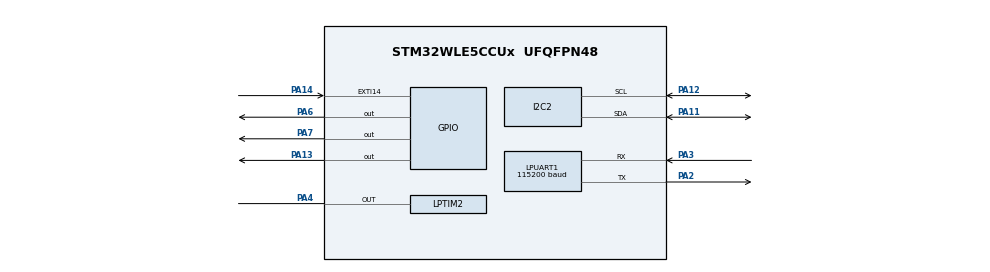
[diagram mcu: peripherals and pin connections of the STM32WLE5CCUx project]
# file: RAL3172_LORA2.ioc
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ADC.NbrOfConversion=1
ADC.SelectedChannel=ADC_CHANNEL_TEMPSENSOR|ADC_CHANNEL_VREFINT|ADC_CHANNEL_VBAT
FREERTOS.Tasks01=defaultTask,24,256,StartDefaultTask,Default,NULL,Dynamic,NULL,NULL
FREERTOS.configTOTAL_HEAP_SIZE=12000
FREERTOS.configUSE_NEWLIB_REENTRANT=1
FREERTOS.configUSE_TICKLESS_IDLE=2
I2C2.Timing=0x10805D88
IWDG.Prescaler=IWDG_PRESCALER_256
LPTIM1.ClockPrescaler=LPTIM_PRESCALER_DIV16
LPTIM3.ClockPrescaler=LPTIM_PRESCALER_DIV16
LPUART1.BaudRate=115200
LPUART1.FIFOMode=UART_FIFOMODE_ENABLE
Mcu.Family=STM32WL
Mcu.Name=STM32WLE5CCUx
Mcu.Package=UFQFPN48
NVIC.ADC_IRQn=true\:5\:0\:false\:false\:true\:true\:true\:true\:true
NVIC.EXTI15_10_IRQn=true\:5\:0\:false\:false\:true\:true\:true\:true\:true
NVIC.I2C2_ER_IRQn=true\:6\:0\:true\:false\:true\:true\:true\:true\:true
NVIC.I2C2_EV_IRQn=true\:6\:0\:true\:false\:true\:true\:true\:true\:true
NVIC.LPTIM1_IRQn=true\:5\:0\:false\:true\:true\:2\:true\:true\:true\:true
NVIC.LPUART1_IRQn=true\:5\:0\:false\:true\:true\:3\:true\:true\:true\:true
NVIC.PriorityGroup=NVIC_PRIORITYGROUP_4
NVIC.RTC_Alarm_IRQn=true\:5\:0\:false\:false\:true\:true\:true\:true\:true
NVIC.SUBGHZ_Radio_IRQn=true\:5\:0\:false\:true\:true\:1\:true\:true\:true\:true
NVIC.TIM16_IRQn=true\:5\:0\:true\:false\:true\:false\:false\:true\:true
NVIC.TimeBase=TIM16_IRQn
NVIC.TimeBaseIP=TIM16
PA11.GPIO_Pu=GPIO_PULLUP
PA11.Mode=I2C
PA11.Signal=I2C2_SDA
PA12.GPIO_Pu=GPIO_PULLUP
PA12.Mode=I2C
PA12.Signal=I2C2_SCL
PA13.Signal=GPIO_Output
PA14.GPIO_PuPd=GPIO_PULLDOWN
PA14.Signal=GPXTI14
PA2.Mode=Asynchronous
PA2.Signal=LPUART1_TX
PA3.GPIO_PuPd=GPIO_NOPULL
PA3.Mode=Asynchronous
PA3.Signal=LPUART1_RX
PA4.Mode=WaveformGeneration
PA4.Signal=LPTIM2_OUT
PA6.Signal=GPIO_Output
PA7.Signal=GPIO_Output
PC14-OSC32_IN.Mode=LSE-External-Oscillator
PC14-OSC32_IN.Signal=RCC_OSC32_IN
PC15-OSC32_OUT.Mode=LSE-External-Oscillator
PC15-OSC32_OUT.Signal=RCC_OSC32_OUT
ProjectManager.HeapSize=0x200
ProjectManager.StackSize=0x400
ProjectManager.TargetToolchain=STM32CubeIDE
RCC.AHBFreq_Value=48000000
RCC.APB1Freq_Value=48000000
RCC.APB1TimFreq_Value=48000000
RCC.APB2Freq_Value=48000000
RCC.APB2TimFreq_Value=48000000
RCC.APB3Freq_Value=48000000
RCC.CortexFreq_Value=48000000
RCC.HCLKFreq_Value=48000000
RCC.HSE_VALUE=8000000
RCC.HSI_VALUE=16000000
RCC.LPTIM1CLockSelection=RCC_LPTIM1CLKSOURCE_LSE
RCC.LPTIM2CLockSelection=RCC_LPTIM2CLKSOURCE_LSE
RCC.LPTIM3CLockSelection=RCC_LPTIM3CLKSOURCE_LSE
RCC.LPUART1CLockSelection=RCC_LPUART1CLKSOURCE_HSI
RCC.LSE_VALUE=32768
RCC.MSIClockRange=RCC_MSIRANGE_11
RCC.RTCClockSelection=RCC_RTCCLKSOURCE_LSE
RCC.SYSCLKFreq_VALUE=48000000
RCC.VCOOutputFreq_Value=384000000
RTC.Alarm-Alarm\ A=RTC_ALARM_A
RTC.AlarmMaskDateWeekDay-Alarm\ A=RTC_ALARMMASK_DATEWEEKDAY
RTC.AlarmMaskDateWeekDay_B-Alarm\ B=RTC_ALARMMASK_DATEWEEKDAY
RTC.Alarm_B-Alarm\ B=RTC_ALARM_B
RTC.AsynchPrediv=31
RTC.BinMixBcdU=RTC_BINARY_MIX_BCDU_2
RTC.BinMode=RTC_BINARY_MIX
RTC.Hours_A-Alarm\ A=0
RTC.Hours_B-Alarm\ B=19
RTC.SynchPrediv=1023
SUBGHZ_PHY.TX_RFO_CONFIG=RBI_CONF_RFO_LP
SUBGHZ_PHY.USE_LPM=false
SUBGHZ_PHY.USE_RTC=true
VP_ADC_TempSens_Input.Mode=IN-TempSens
VP_ADC_Vbat_Input.Mode=IN-Vbat
VP_ADC_Vref_Input.Mode=IN-Vrefint
VP_ADV_TRACE_VS_ADV_TRACE.Mode=ADV_TRACE_Enabled
VP_FREERTOS_VS_CMSIS_V2.Mode=CMSIS_V2
VP_IWDG_VS_IWDG.Mode=IWDG_Activate
VP_LPTIM1_VS_LPTIM_counterModeInternalClock.Mode=Counts__internal_clock_event_00
VP_LPTIM2_VS_LPTIM_counterModeInternalClock.Mode=Counts__internal_clock_event_00
VP_LPTIM3_VS_LPTIM_counterModeInternalClock.Mode=Counts__internal_clock_event_00
VP_MISC_VS_MISC.Mode=MISC_Enabled
VP_RTC_VS_RTC_Activate.Mode=RTC_Enabled
VP_RTC_VS_RTC_Alarm_A_Intern.Mode=Alarm A
VP_RTC_VS_RTC_Alarm_B_Intern.Mode=Alarm B
VP_RTC_VS_RTC_Calendar.Mode=RTC_Calendar
VP_SUBGHZ_PHY_VS_SubGhzPhy.Mode=SubGhzPhy_Enabled
VP_SUBGHZ_VS_SUBGHZ.Mode=SUBGHZ_Activate
VP_SYS_VS_tim16.Mode=TIM16
VP_TIMER_VS_TIMER.Mode=TIMER_Enabled
VP_TINY_LPM_VS_TINY_LPM.Mode=TINY_LPM_Enabled
board=custom

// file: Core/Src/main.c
/* USER CODE BEGIN Header */
/**
  ******************************************************************************
  * @file           : main.c
  * @brief          : Main program body
  ******************************************************************************
  * @attention
  *
  * Copyright (c) 2025 STMicroelectronics.
  * All rights reserved.
  *
  * This software is licensed under terms that can be found in the LICENSE file
  * in the root directory of this software component.
  * If no LICENSE file comes with this software, it is provided AS-IS.
  *
  ******************************************************************************

Compilation :
ne pas mettre en statitc RTC_Init
dans fichier timer_if.c, ligne 239 : sAlarm.AlarmMask = RTC_ALARMMASK_ALL;
   sAlarm.AlarmSubSecondMask = 0; // RTC_ALARMSUBSECONDBINMASK_NONE;
   ligne 242 :   if (HAL_RTC_SetAlarm_IT(&h, &sAlarm, RTC_FORMAT_BIN) != HAL_OK)

  */
/* USER CODE END Header */
#include "main.h"
#include "cmsis_os.h"
#include "app_subghz_phy.h"

/* USER CODE BEGIN Includes */
#include "fonctions.h"
#include <string.h>
#include "stm32wlxx_hal_exti.h"

/* USER CODE END Includes */

/* USER CODE BEGIN PTD */
void Appli_Tsk(void *argument);

/* USER CODE END PTD */

ADC_HandleTypeDef hadc;

I2C_HandleTypeDef hi2c2;

IWDG_HandleTypeDef hiwdg;

LPTIM_HandleTypeDef hlptim1;
LPTIM_HandleTypeDef hlptim2;
LPTIM_HandleTypeDef hlptim3;

UART_HandleTypeDef hlpuart1;

RTC_HandleTypeDef hrtc;

SUBGHZ_HandleTypeDef hsubghz;

/* Definitions for defaultTask */
osThreadId_t defaultTaskHandle;
const osThreadAttr_t defaultTask_attributes = {
  .name = "defaultTask",
  .priority = (osPriority_t) osPriorityNormal,
  .stack_size = 256 * 4
};
/* USER CODE BEGIN PV */

/* Definitions for Appli_Task */
osThreadId_t Appli_TaskHandle;
const osThreadAttr_t Appli_Task_attributes = {
  .name = "Appli_Task",
  .priority = (osPriority_t) osPriorityBelowNormal,
  .stack_size = 600 * 4
};

/* USER CODE BEGIN Private function prototypes */
static void MX_I2C2_Init(void) FUNUSED;

/* USER CODE END PV */

void SystemClock_Config(void);
static void MX_GPIO_Init(void);
static void MX_IWDG_Init(void);
void MX_RTC_Init(void);
static void MX_LPUART1_UART_Init(void);
static void MX_LPTIM1_Init(void);
static void MX_ADC_Init(void);
static void MX_I2C2_Init(void);
static void MX_LPTIM3_Init(void);
static void MX_LPTIM2_Init(void);
void StartDefaultTask(void *argument);

static void MX_NVIC_Init(void);
/* USER CODE BEGIN PFP */

//static void MX_GPIO_Init_modif(void);

/* USER CODE END PFP */

/* USER CODE BEGIN 0 */
EXTI_HandleTypeDef hexti_pa12;
EXTI_ConfigTypeDef exti_config;

/* USER CODE END 0 */

int main(void)
{

  /* MCU Configuration--------------------------------------------------------*/

  /* Reset of all peripherals, Initializes the Flash interface and the Systick. */
  HAL_Init();

  /* Configure the system clock */
  SystemClock_Config();

  /* USER CODE BEGIN SysInit */
  // Configure le SysTick pour que HAL_Delay fonctionne avant FreeRTOS
  //HAL_SYSTICK_Config(HAL_RCC_GetHCLKFreq() / 1000);
  //HAL_SYSTICK_CLKSourceConfig(SYSTICK_CLKSOURCE_HCLK);

  /* USER CODE END SysInit */

  /* Initialize all configured peripherals */
  MX_GPIO_Init();
  MX_IWDG_Init();
  MX_RTC_Init();
  MX_LPTIM1_Init();
  MX_LPTIM3_Init();
  MX_LPTIM2_Init();

  /* Initialize interrupts */
  MX_NVIC_Init();
  /* USER CODE BEGIN 2 */
	#ifdef mode_LPUART1
	  MX_LPUART1_UART_Init();
	#endif

	#ifdef mode_I2C
	  MX_I2C2_Init();
	#endif

    MX_NVIC_Init();

	#ifndef SANS_RADIO
	  MX_SUBGHZ_Init();
	#endif

  init1();  // IT UArt, démarre LPTIM1, message "RAK Init"
  /* USER CODE END 2 */

  /* Init scheduler */
  osKernelInitialize();

  /* Create the thread(s) */
  /* creation of defaultTask */
  defaultTaskHandle = osThreadNew(StartDefaultTask, NULL, &defaultTask_attributes);

  /* USER CODE BEGIN RTOS_EVENTS */
  /* add events, ... */
  	init2();  // queues, timers, taches Uart

  //Initialisation des entrées, sorties et PWM
	Init_ES();  //pin configuree dans MX_GPIO_Init()

  /* creation of Appli_Task */
  Appli_TaskHandle = osThreadNew(Appli_Tsk, NULL, &Appli_Task_attributes);
  init3();  // taches

  /* USER CODE END RTOS_EVENTS */

  /* Start scheduler */
  osKernelStart();

  /* We should never get here as control is now taken by the scheduler */

  /* Infinite loop */
  while (1)
  {

  }
}

void SystemClock_Config(void)
{
  RCC_OscInitTypeDef RCC_OscInitStruct = {0};
  RCC_ClkInitTypeDef RCC_ClkInitStruct = {0};

  /** Configure LSE Drive Capability
  */
  HAL_PWR_EnableBkUpAccess();
  __HAL_RCC_LSEDRIVE_CONFIG(RCC_LSEDRIVE_LOW);

  /** Configure the main internal regulator output voltage
  */
  __HAL_PWR_VOLTAGESCALING_CONFIG(PWR_REGULATOR_VOLTAGE_SCALE1);

  /** Initializes the CPU, AHB and APB buses clocks
  */
  RCC_OscInitStruct.OscillatorType = RCC_OSCILLATORTYPE_HSI|RCC_OSCILLATORTYPE_LSI
                              |RCC_OSCILLATORTYPE_LSE|RCC_OSCILLATORTYPE_MSI;
  RCC_OscInitStruct.LSEState = RCC_LSE_ON;
  RCC_OscInitStruct.HSIState = RCC_HSI_ON;
  RCC_OscInitStruct.MSIState = RCC_MSI_ON;
  RCC_OscInitStruct.HSICalibrationValue = RCC_HSICALIBRATION_DEFAULT;
  RCC_OscInitStruct.MSICalibrationValue = RCC_MSICALIBRATION_DEFAULT;
  RCC_OscInitStruct.MSIClockRange = RCC_MSIRANGE_11;
  RCC_OscInitStruct.LSIDiv = RCC_LSI_DIV1;
  RCC_OscInitStruct.LSIState = RCC_LSI_ON;
  RCC_OscInitStruct.PLL.PLLState = RCC_PLL_NONE;
  if (HAL_RCC_OscConfig(&RCC_OscInitStruct) != HAL_OK)
  {
    Error_Handler(1);
  }

  /** Configure the SYSCLKSource, HCLK, PCLK1 and PCLK2 clocks dividers
  */
  RCC_ClkInitStruct.ClockType = RCC_CLOCKTYPE_HCLK3|RCC_CLOCKTYPE_HCLK
                              |RCC_CLOCKTYPE_SYSCLK|RCC_CLOCKTYPE_PCLK1
                              |RCC_CLOCKTYPE_PCLK2;
  RCC_ClkInitStruct.SYSCLKSource = RCC_SYSCLKSOURCE_MSI;
  RCC_ClkInitStruct.AHBCLKDivider = RCC_SYSCLK_DIV1;
  RCC_ClkInitStruct.APB1CLKDivider = RCC_HCLK_DIV1;
  RCC_ClkInitStruct.APB2CLKDivider = RCC_HCLK_DIV1;
  RCC_ClkInitStruct.AHBCLK3Divider = RCC_SYSCLK_DIV1;

  if (HAL_RCC_ClockConfig(&RCC_ClkInitStruct, FLASH_LATENCY_2) != HAL_OK)
  {
    Error_Handler(1);
  }
}

/**
  * @brief NVIC Configuration.
  * @retval None
  */
static void MX_NVIC_Init(void)
{
  /* SUBGHZ_Radio_IRQn interrupt configuration */
  HAL_NVIC_SetPriority(SUBGHZ_Radio_IRQn, 5, 0);
  HAL_NVIC_EnableIRQ(SUBGHZ_Radio_IRQn);
  /* LPTIM1_IRQn interrupt configuration */
  HAL_NVIC_SetPriority(LPTIM1_IRQn, 5, 0);
  HAL_NVIC_EnableIRQ(LPTIM1_IRQn);
  /* LPUART1_IRQn interrupt configuration */
  HAL_NVIC_SetPriority(LPUART1_IRQn, 5, 0);
  HAL_NVIC_EnableIRQ(LPUART1_IRQn);
}

static void MX_ADC_Init(void)
{

  /** Configure the global features of the ADC (Clock, Resolution, Data Alignment and number of conversion)
  */
  hadc.Instance = ADC;
  hadc.Init.ClockPrescaler = ADC_CLOCK_SYNC_PCLK_DIV2;
  hadc.Init.Resolution = ADC_RESOLUTION_12B;
  hadc.Init.DataAlign = ADC_DATAALIGN_RIGHT;
  hadc.Init.ScanConvMode = ADC_SCAN_DISABLE;
  hadc.Init.EOCSelection = ADC_EOC_SINGLE_CONV;
  hadc.Init.LowPowerAutoWait = DISABLE;
  hadc.Init.LowPowerAutoPowerOff = DISABLE;
  hadc.Init.ContinuousConvMode = DISABLE;
  hadc.Init.NbrOfConversion = 1;
  hadc.Init.DiscontinuousConvMode = DISABLE;
  hadc.Init.ExternalTrigConv = ADC_SOFTWARE_START;
  hadc.Init.ExternalTrigConvEdge = ADC_EXTERNALTRIGCONVEDGE_NONE;
  hadc.Init.DMAContinuousRequests = DISABLE;
  hadc.Init.Overrun = ADC_OVR_DATA_PRESERVED;
  hadc.Init.SamplingTimeCommon1 = ADC_SAMPLETIME_1CYCLE_5;
  hadc.Init.SamplingTimeCommon2 = ADC_SAMPLETIME_1CYCLE_5;
  hadc.Init.OversamplingMode = DISABLE;
  hadc.Init.TriggerFrequencyMode = ADC_TRIGGER_FREQ_HIGH;
  if (HAL_ADC_Init(&hadc) != HAL_OK)
  {
    Error_Handler(1);
  }

}

static void MX_I2C2_Init(void)
{

  hi2c2.Instance = I2C2;
  hi2c2.Init.Timing = 0x10805D88;
  hi2c2.Init.OwnAddress1 = 0;
  hi2c2.Init.AddressingMode = I2C_ADDRESSINGMODE_7BIT;
  hi2c2.Init.DualAddressMode = I2C_DUALADDRESS_DISABLE;
  hi2c2.Init.OwnAddress2 = 0;
  hi2c2.Init.OwnAddress2Masks = I2C_OA2_NOMASK;
  hi2c2.Init.GeneralCallMode = I2C_GENERALCALL_DISABLE;
  hi2c2.Init.NoStretchMode = I2C_NOSTRETCH_DISABLE;
  if (HAL_I2C_Init(&hi2c2) != HAL_OK)
  {
    Error_Handler(2);
  }

  /** Configure Analogue filter
  */
  if (HAL_I2CEx_ConfigAnalogFilter(&hi2c2, I2C_ANALOGFILTER_ENABLE) != HAL_OK)
  {
    Error_Handler(2);
  }

  /** Configure Digital filter
  */
  if (HAL_I2CEx_ConfigDigitalFilter(&hi2c2, 0) != HAL_OK)
  {
    Error_Handler(2);
  }

}

static void MX_IWDG_Init(void)
{

  /* USER CODE BEGIN IWDG_Init 1 */
#ifndef Sans_Watchdog
  /* USER CODE END IWDG_Init 1 */
  hiwdg.Instance = IWDG;
  hiwdg.Init.Prescaler = IWDG_PRESCALER_256;
  hiwdg.Init.Window = 4095;
  hiwdg.Init.Reload = 4095;
  if (HAL_IWDG_Init(&hiwdg) != HAL_OK)
  {
    Error_Handler(3);
  }
  /* USER CODE BEGIN IWDG_Init 2 */
#endif
  /* USER CODE END IWDG_Init 2 */

}

static void MX_LPTIM1_Init(void)
{

  hlptim1.Instance = LPTIM1;
  hlptim1.Init.Clock.Source = LPTIM_CLOCKSOURCE_APBCLOCK_LPOSC;
  hlptim1.Init.Clock.Prescaler = LPTIM_PRESCALER_DIV16;
  hlptim1.Init.Trigger.Source = LPTIM_TRIGSOURCE_SOFTWARE;
  hlptim1.Init.OutputPolarity = LPTIM_OUTPUTPOLARITY_HIGH;
  hlptim1.Init.UpdateMode = LPTIM_UPDATE_IMMEDIATE;
  hlptim1.Init.CounterSource = LPTIM_COUNTERSOURCE_INTERNAL;
  hlptim1.Init.Input1Source = LPTIM_INPUT1SOURCE_GPIO;
  hlptim1.Init.Input2Source = LPTIM_INPUT2SOURCE_GPIO;
  if (HAL_LPTIM_Init(&hlptim1) != HAL_OK)
  {
    Error_Handler(4);
  }
  /* USER CODE BEGIN LPTIM1_Init 2 */
  LPTIM1_EXTI_ENABLE_IT();

  /* USER CODE END LPTIM1_Init 2 */

}

static void MX_LPTIM2_Init(void)
{

  hlptim2.Instance = LPTIM2;
  hlptim2.Init.Clock.Source = LPTIM_CLOCKSOURCE_APBCLOCK_LPOSC;
  hlptim2.Init.Clock.Prescaler = LPTIM_PRESCALER_DIV1;
  hlptim2.Init.Trigger.Source = LPTIM_TRIGSOURCE_SOFTWARE;
  hlptim2.Init.OutputPolarity = LPTIM_OUTPUTPOLARITY_HIGH;
  hlptim2.Init.UpdateMode = LPTIM_UPDATE_ENDOFPERIOD;
  hlptim2.Init.CounterSource = LPTIM_COUNTERSOURCE_INTERNAL;
  hlptim2.Init.Input1Source = LPTIM_INPUT1SOURCE_GPIO;
  hlptim2.Init.Input2Source = LPTIM_INPUT2SOURCE_GPIO;
  if (HAL_LPTIM_Init(&hlptim2) != HAL_OK)
  {
    Error_Handler(5);
  }

}

static void MX_LPTIM3_Init(void)
{

  hlptim3.Instance = LPTIM3;
  hlptim3.Init.Clock.Source = LPTIM_CLOCKSOURCE_APBCLOCK_LPOSC;
  hlptim3.Init.Clock.Prescaler = LPTIM_PRESCALER_DIV16;
  hlptim3.Init.Trigger.Source = LPTIM_TRIGSOURCE_SOFTWARE;
  hlptim3.Init.OutputPolarity = LPTIM_OUTPUTPOLARITY_HIGH;
  hlptim3.Init.UpdateMode = LPTIM_UPDATE_IMMEDIATE;
  hlptim3.Init.CounterSource = LPTIM_COUNTERSOURCE_INTERNAL;
  hlptim3.Init.Input1Source = LPTIM_INPUT1SOURCE_GPIO;
  hlptim3.Init.Input2Source = LPTIM_INPUT2SOURCE_GPIO;
  if (HAL_LPTIM_Init(&hlptim3) != HAL_OK)
  {
    Error_Handler(5);
  }

}

static void MX_LPUART1_UART_Init(void)
{

  hlpuart1.Instance = LPUART1;
  hlpuart1.Init.BaudRate = 115200;
  hlpuart1.Init.WordLength = UART_WORDLENGTH_8B;
  hlpuart1.Init.StopBits = UART_STOPBITS_1;
  hlpuart1.Init.Parity = UART_PARITY_NONE;
  hlpuart1.Init.Mode = UART_MODE_TX_RX;
  hlpuart1.Init.HwFlowCtl = UART_HWCONTROL_NONE;
  hlpuart1.Init.OneBitSampling = UART_ONE_BIT_SAMPLE_DISABLE;
  hlpuart1.Init.ClockPrescaler = UART_PRESCALER_DIV1;
  hlpuart1.AdvancedInit.AdvFeatureInit = UART_ADVFEATURE_NO_INIT;
  hlpuart1.FifoMode = UART_FIFOMODE_ENABLE;
  if (HAL_UART_Init(&hlpuart1) != HAL_OK)
  {
    Error_Handler(6);
  }
  if (HAL_UARTEx_SetTxFifoThreshold(&hlpuart1, UART_TXFIFO_THRESHOLD_1_8) != HAL_OK)
  {
    Error_Handler(6);
  }
  if (HAL_UARTEx_SetRxFifoThreshold(&hlpuart1, UART_RXFIFO_THRESHOLD_1_8) != HAL_OK)
  {
    Error_Handler(6);
  }
  if (HAL_UARTEx_EnableFifoMode(&hlpuart1) != HAL_OK)
  {
    Error_Handler(6);
  }
  /* USER CODE BEGIN LPUART1_Init 2 */
  LPUART1_EXTI_ENABLE_IT();

//#ifdef mode_sleep
		// Configuration du réveil UART pour le mode Stop
	    // set the wake-up event:
	    // specify wake-up on RXNE flag
		UART_WakeUpTypeDef wakeup_config;
		wakeup_config.WakeUpEvent = UART_WAKEUP_ON_READDATA_NONEMPTY;

		// Configurer le réveil UART
		if (HAL_UARTEx_StopModeWakeUpSourceConfig(&hlpuart1, wakeup_config) != HAL_OK) Error_Handler(7);

	  __HAL_UART_ENABLE_IT(&hlpuart1, UART_IT_WUF);  // Activation interruption WakeUp UArt from STop mode

	  //__HAL_UART_ENABLE_IT(&hlpuart1, UART_IT_RXNE);  // sans fifo
	  __HAL_UART_ENABLE_IT(&hlpuart1, UART_IT_RXFNE);  // avec fifo

		// Activer le mode Stop pour l'UART
		  HAL_UARTEx_EnableStopMode(&hlpuart1);    // enable MCU wake-up by LPUART
//#endif

  /* USER CODE END LPUART1_Init 2 */

}

void MX_RTC_Init(void)
{

  RTC_TimeTypeDef sTime = {0};
  RTC_DateTypeDef sDate = {0};
  RTC_AlarmTypeDef sAlarm = {0};

  /** Initialize RTC Only
  */
  hrtc.Instance = RTC;
  hrtc.Init.HourFormat = RTC_HOURFORMAT_24;
  hrtc.Init.AsynchPrediv = 31;
  hrtc.Init.SynchPrediv = 1023;
  hrtc.Init.OutPut = RTC_OUTPUT_DISABLE;
  hrtc.Init.OutPutRemap = RTC_OUTPUT_REMAP_NONE;
  hrtc.Init.OutPutPolarity = RTC_OUTPUT_POLARITY_HIGH;
  hrtc.Init.OutPutType = RTC_OUTPUT_TYPE_OPENDRAIN;
  hrtc.Init.OutPutPullUp = RTC_OUTPUT_PULLUP_NONE;
  hrtc.Init.BinMode = RTC_BINARY_MIX;
  hrtc.Init.BinMixBcdU = RTC_BINARY_MIX_BCDU_2;
  if (HAL_RTC_Init(&hrtc) != HAL_OK)
  {
    Error_Handler(8);
  }

  /** Initialize RTC and set the Time and Date
  */
  sTime.Hours = 0x0;
  sTime.Minutes = 0x0;
  sTime.Seconds = 0x0;
  sTime.DayLightSaving = RTC_DAYLIGHTSAVING_NONE;
  sTime.StoreOperation = RTC_STOREOPERATION_RESET;
  if (HAL_RTC_SetTime(&hrtc, &sTime, RTC_FORMAT_BCD) != HAL_OK)
  {
    Error_Handler(8);
  }
  sDate.WeekDay = RTC_WEEKDAY_MONDAY;
  sDate.Month = RTC_MONTH_JANUARY;
  sDate.Date = 0x1;
  sDate.Year = 0x0;
  if (HAL_RTC_SetDate(&hrtc, &sDate, RTC_FORMAT_BCD) != HAL_OK)
  {
    Error_Handler(8);
  }
  if (HAL_RTCEx_SetSSRU_IT(&hrtc) != HAL_OK)
  {
    Error_Handler(8);
  }

  /** Enable the Alarm A
  */
  sAlarm.AlarmTime.Hours = 0x0;
  sAlarm.AlarmTime.Minutes = 0x0;
  sAlarm.AlarmTime.Seconds = 0x0;
  sAlarm.AlarmTime.SubSeconds = 0x0;
  sAlarm.AlarmTime.DayLightSaving = RTC_DAYLIGHTSAVING_NONE;
  sAlarm.AlarmTime.StoreOperation = RTC_STOREOPERATION_RESET;
  sAlarm.AlarmMask = RTC_ALARMMASK_DATEWEEKDAY;
  sAlarm.AlarmSubSecondMask = RTC_ALARMSUBSECONDBINMASK_NONE;
  sAlarm.AlarmDateWeekDaySel = RTC_ALARMDATEWEEKDAYSEL_DATE;
  sAlarm.AlarmDateWeekDay = 0x1;
  sAlarm.Alarm = RTC_ALARM_A;
  if (HAL_RTC_SetAlarm_IT(&hrtc, &sAlarm, RTC_FORMAT_BCD) != HAL_OK)
  {
    Error_Handler(9);
  }

  /** Enable the Alarm B
  */
  sAlarm.AlarmTime.Hours = 0x19;
  sAlarm.Alarm = RTC_ALARM_B;
  if (HAL_RTC_SetAlarm_IT(&hrtc, &sAlarm, RTC_FORMAT_BCD) != HAL_OK)
  {
    Error_Handler(9);
  }

}

void MX_SUBGHZ_Init(void)
{

  /* USER CODE BEGIN SUBGHZ_Init 0 */
	//hsubghz.Instance = SUBGHZ;

  /* USER CODE END SUBGHZ_Init 0 */

  hsubghz.Init.BaudratePrescaler = SUBGHZSPI_BAUDRATEPRESCALER_8;
  if (HAL_SUBGHZ_Init(&hsubghz) != HAL_OK)
  {
    Error_Handler(10);
  }

}

static void MX_GPIO_Init(void)
{
  GPIO_InitTypeDef GPIO_InitStruct = {0};

  /* GPIO Ports Clock Enable */
  __HAL_RCC_GPIOA_CLK_ENABLE();
  __HAL_RCC_GPIOC_CLK_ENABLE();

  /*Configure GPIO pin Output Level */
  HAL_GPIO_WritePin(GPIOA, GPIO_PIN_6|GPIO_PIN_7|GPIO_PIN_13, GPIO_PIN_RESET);

  /*Configure GPIO pins : PA6 PA7 PA13 */
  GPIO_InitStruct.Pin = GPIO_PIN_6|GPIO_PIN_7|GPIO_PIN_13;
  GPIO_InitStruct.Mode = GPIO_MODE_OUTPUT_PP;
  GPIO_InitStruct.Pull = GPIO_NOPULL;
  GPIO_InitStruct.Speed = GPIO_SPEED_FREQ_LOW;
  HAL_GPIO_Init(GPIOA, &GPIO_InitStruct);

  /*Configure GPIO pin : PA14 */
  GPIO_InitStruct.Pin = GPIO_PIN_14;
  GPIO_InitStruct.Mode = GPIO_MODE_IT_RISING;
  GPIO_InitStruct.Pull = GPIO_PULLDOWN;
  HAL_GPIO_Init(GPIOA, &GPIO_InitStruct);

  /* EXTI interrupt init*/
  HAL_NVIC_SetPriority(EXTI15_10_IRQn, 5, 0);
  HAL_NVIC_EnableIRQ(EXTI15_10_IRQn);

  /* USER CODE BEGIN MX_GPIO_Init_2 */

  // si I2C non utilisé => PA11 et PA12 en analogique
	#ifndef mode_I2C
	  GPIO_InitStruct.Pin = GPIO_PIN_11|GPIO_PIN_12;
	  GPIO_InitStruct.Mode = GPIO_MODE_OUTPUT_PP;
	  GPIO_InitStruct.Pull = GPIO_NOPULL;
	  GPIO_InitStruct.Speed = GPIO_SPEED_FREQ_LOW;
	  HAL_GPIO_Init(GPIOA, &GPIO_InitStruct);
	#endif

  // A14 : GPIO Output EXT14

  //Configure GPIO pins : PBPin PBPin PBPin
/*  GPIO_InitStruct.Pin = LED1_Pin|LED2_Pin|LED3_Pin;
  GPIO_InitStruct.Mode = GPIO_MODE_OUTPUT_PP;
  GPIO_InitStruct.Pull = GPIO_NOPULL;
  GPIO_InitStruct.Speed = GPIO_SPEED_FREQ_HIGH;
  HAL_GPIO_Init(GPIOB, &GPIO_InitStruct);

  //Configure GPIO pins : PAPin PAPin
  GPIO_InitStruct.Pin = BUT1_Pin|BUT2_Pin;
  GPIO_InitStruct.Mode = GPIO_MODE_IT_FALLING;
  GPIO_InitStruct.Pull = GPIO_PULLUP;
  HAL_GPIO_Init(GPIOA, &GPIO_InitStruct);

  //Configure GPIO pins : PBPin PBPin
  GPIO_InitStruct.Pin = PROB2_Pin|PROB1_Pin;
  GPIO_InitStruct.Mode = GPIO_MODE_OUTPUT_PP;
  GPIO_InitStruct.Pull = GPIO_NOPULL;
  GPIO_InitStruct.Speed = GPIO_SPEED_FREQ_VERY_HIGH;
  HAL_GPIO_Init(GPIOB, &GPIO_InitStruct);

  //Configure GPIO pin : PtPin
  GPIO_InitStruct.Pin = BUT3_Pin;
  GPIO_InitStruct.Mode = GPIO_MODE_IT_FALLING;
  GPIO_InitStruct.Pull = GPIO_PULLUP;
  HAL_GPIO_Init(BUT3_GPIO_Port, &GPIO_InitStruct);*/

 /* // EXTI interrupt init
  HAL_NVIC_SetPriority(EXTI0_IRQn, 0, 0);
  HAL_NVIC_EnableIRQ(EXTI0_IRQn);

  HAL_NVIC_SetPriority(EXTI1_IRQn, 0, 0);
  HAL_NVIC_EnableIRQ(EXTI1_IRQn);

  HAL_NVIC_SetPriority(EXTI9_5_IRQn, 0, 0);
  HAL_NVIC_EnableIRQ(EXTI9_5_IRQn);

  // Configuration de la structure EXTI_ConfigTypeDef
      exti_config.Line = EXTI_LINE_12;                    // Ligne 12 (PA12)
      exti_config.Mode = EXTI_MODE_INTERRUPT;             // Mode interruption
      exti_config.Trigger = EXTI_TRIGGER_FALLING;         // ⭐ FRONT DESCENDANT
      exti_config.GPIOSel = EXTI_GPIOA;                   // Port GPIOA

      // Configuration du handle EXTI
      hexti_pa12.Line = EXTI_LINE_12;

      // Configuration automatique avec HAL_EXTI_SetConfigLine
      if (HAL_EXTI_SetConfigLine(&hexti_pa12, &exti_config) != HAL_OK)
      {
          Error_Handler(0);
      }*/
  /* USER CODE END MX_GPIO_Init_2 */
}

/* USER CODE BEGIN 4 */
/*static void MX_GPIO_Init_modif(void)
{
    GPIO_InitTypeDef GPIO_InitStruct = {0};

    __HAL_RCC_GPIOA_CLK_ENABLE();
    __HAL_RCC_GPIOB_CLK_ENABLE();
    __HAL_RCC_GPIOC_CLK_ENABLE();

    GPIO_InitStruct.Mode = GPIO_MODE_ANALOG;
    GPIO_InitStruct.Pull = GPIO_NOPULL;

    GPIO_InitStruct.Pin =
        GPIO_PIN_0 | GPIO_PIN_1 | GPIO_PIN_4 | GPIO_PIN_5 |
        GPIO_PIN_6 | GPIO_PIN_7 | GPIO_PIN_8 | GPIO_PIN_9 |
        GPIO_PIN_10 | GPIO_PIN_11 | GPIO_PIN_12 |
        GPIO_PIN_13 | GPIO_PIN_14 | GPIO_PIN_15;
    HAL_GPIO_Init(GPIOA, &GPIO_InitStruct);

    GPIO_InitStruct.Pin = GPIO_PIN_All;
    HAL_GPIO_Init(GPIOB, &GPIO_InitStruct);

    GPIO_InitStruct.Pin =
        GPIO_PIN_0 | GPIO_PIN_1 | GPIO_PIN_2 | GPIO_PIN_3 |
        GPIO_PIN_4 | GPIO_PIN_5 | GPIO_PIN_6 | GPIO_PIN_7 |
        GPIO_PIN_8 | GPIO_PIN_9 | GPIO_PIN_10 | GPIO_PIN_11 |
        GPIO_PIN_12 | GPIO_PIN_13;
    HAL_GPIO_Init(GPIOC, &GPIO_InitStruct);

    __HAL_RCC_GPIOA_CLK_DISABLE();
    __HAL_RCC_GPIOB_CLK_DISABLE();
    __HAL_RCC_GPIOC_CLK_DISABLE();
}*/

void MX_ADC_Init_Public(void)
{
    MX_ADC_Init();
}

/* USER CODE END 4 */

void StartDefaultTask(void *argument)
{
  /* USER CODE BEGIN 5 */
  /* Infinite loop */
  for(;;)
  {
    vTaskSuspend(NULL);  // suspension définitive
    //startDefTsk();
    //osDelay(100);
  }
  /* USER CODE END 5 */
}

void HAL_TIM_PeriodElapsedCallback(TIM_HandleTypeDef *htim)
{
  if (htim->Instance == TIM16)
  {
    HAL_IncTick();
  }
}

void Error_Handler(uint8_t num)
{
  /* USER CODE BEGIN Error_Handler_Debug */
  /* User can add his own implementation to report the HAL error return state */
  __disable_irq();

  // Forcer l'état UART à READY au cas où il était occupé (BUSY_TX) par un log
  hlpuart1.gState = HAL_UART_STATE_READY;

  char error_msg[] = "\r\n---[DEBUG] ERROR_HANDLER  ---\r\n";
  error_msg[27] = (num/10)+'0';
  error_msg[28] = (num%10) +'0';
  uint16_t len = strlen(error_msg);

  // Envoi direct et bloquant via HAL_UART avec un timeout court
  if (uart_available) {
      HAL_UART_Transmit(&hlpuart1, (uint8_t*)error_msg, len, 100);
  }

  // Attente active (environ 0,1s à 48MHz) car HAL_Delay ne fonctionne plus sans IRQ
  for (volatile uint32_t i = 0; i < 500000; i++) {
      __asm("NOP");
  }

  HAL_NVIC_SystemReset();

  while (1)
  {
  }
  /* USER CODE END Error_Handler_Debug */
}

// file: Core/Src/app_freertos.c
/* USER CODE BEGIN Header */
/**
  ******************************************************************************
  * File Name          : app_freertos.c
  * Description        : Code for freertos applications
  ******************************************************************************
  * @attention
  *
  * Copyright (c) 2025 STMicroelectronics.
  * All rights reserved.
  *
  * This software is licensed under terms that can be found in the LICENSE file
  * in the root directory of this software component.
  * If no LICENSE file comes with this software, it is provided AS-IS.
  *
  ******************************************************************************
  */
/* USER CODE END Header */

#include "FreeRTOS.h"
#include "task.h"
#include "main.h"

/* USER CODE BEGIN VPORT_SUPPORT_TICKS_AND_SLEEP */
__weak void vPortSuppressTicksAndSleep( TickType_t xExpectedIdleTime )
{
  // Generated when configUSE_TICKLESS_IDLE == 2.
  // Function called in tasks.c (in portTASK_FUNCTION).
  // TO BE COMPLETED or TO BE REPLACED by a user one, overriding that weak one.
}
/* USER CODE END VPORT_SUPPORT_TICKS_AND_SLEEP */
